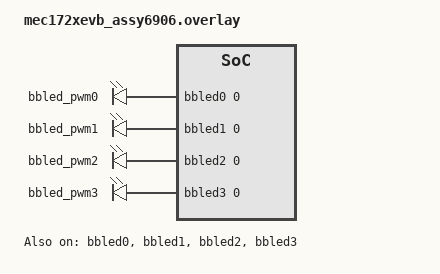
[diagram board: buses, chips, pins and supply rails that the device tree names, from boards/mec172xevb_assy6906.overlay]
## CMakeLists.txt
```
# SPDX-License-Identifier: Apache-2.0

cmake_minimum_required(VERSION 3.20.0)

find_package(Zephyr REQUIRED HINTS $ENV{ZEPHYR_BASE})
project(led_pwm)

FILE(GLOB app_sources src/*.c)
target_sources(app PRIVATE ${app_sources})
```

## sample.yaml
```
sample:
  description: Demonstration of the PWM LED driver
  name: PWM LED sample
tests:
  sample.drivers.led.led_pwm:
    filter: dt_compat_enabled("pwm-leds")
    tags: LED
    depends_on: pwm
    platform_exclude: reel_board
    timeout: 20
    harness: console
    harness_config:
      type: multi_line
      ordered: true
      regex:
        - "Testing LED \\d+"
        - "Turned on"
        - "Turned off"
        - "Increasing brightness gradually"
        - "Blinking on: 0.1 sec, off: 0.1 sec"
        - "(Blinking on: 1 sec, off: 1 sec|Cycle period not supported)"
        - "Turned off, loop end"
```

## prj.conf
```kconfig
CONFIG_LOG=y

CONFIG_PWM=y

CONFIG_LED=y

CONFIG_LOG_MODE_IMMEDIATE=y
```

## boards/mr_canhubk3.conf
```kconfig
# Copyright 2023 NXP
# SPDX-License-Identifier: Apache-2.0

# Due to gpio-leds and pwm-leds are the same RGB LEDs so should not be used
# at the same time, need to disable this config when using pwm-leds.
CONFIG_LED_GPIO=n
```

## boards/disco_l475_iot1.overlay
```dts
/*
 * Copyright (c) 2023 STMicroelectronics
 *
 * SPDX-License-Identifier: Apache-2.0
 */

/ {
	/* do not define the leds on the pa5 and pb14 but pwmleds */
	leds {
		status = "disabled";
	};
};

&pwmleds {
	/* NOTE: enable here because it is disabled by default */
	status = "okay";
};

&timers2 {
	pwm2: pwm {
		/* Change the pin used for PWM2 channel 1 */
		/delete-property/ pinctrl-0;
		pinctrl-0 = <&tim2_ch1_pa5>;
	};
};
```

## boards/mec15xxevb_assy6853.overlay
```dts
/*
 * Copyright (c) 2023 Microchip Technology Inc.
 *
 * SPDX-License-Identifier: Apache-2.0
 */

#include <zephyr/dt-bindings/pwm/pwm.h>

/* MEC152x EVB
 * BBLED controller 0 uses GPIO156/LED0 connected to JP31-13
 * BBLED controller 1 uses GPIO157/LED1 connected to JP31-15
 * BBLED controller 2 uses GPIO153/LED2 connected to JP31-17
 *
 * BBLED hardware divides input clock (32KHz or 48MHz) by (256 * (prescalar+1)
 * and implements duty cycle for blink mode as an 8-bit value where 0 is off and
 * 255 full on. BBLED PWM is 8-bit.
 * BBLED-PWM driver get cycles API reports 32KHz/256 or 48M/256.
 * Due to all the above we use 50 ms for DT PWM period.
 */

/* PWM_SEC(1) PWM_USEC(7812) */
/ {
	pwmleds {
		compatible = "pwm-leds";
		/* struct pwm_dt_spec: phandle channel period(ns) flags */
		bbled_pwm0: bbled_pwm0 {
			pwms = <&bbled0 0 PWM_MSEC(50) PWM_POLARITY_NORMAL>;
		};
		bbled_pwm1: bbled_pwm1 {
			pwms = <&bbled1 0 PWM_MSEC(50) PWM_POLARITY_NORMAL>;
		};
		bbled_pwm2: bbled_pwm2 {
			pwms = <&bbled2 0 PWM_MSEC(50) PWM_POLARITY_NORMAL>;
		};
	};
};

&pinctrl {
	led0_gpio156_invert: led0_gpio156_invert {
		pinmux = <MCHP_XEC_PINMUX(0156, MCHP_AF1)>;
		microchip,output-func-invert;
	};
	led1_gpio157_invert: led1_gpio157_invert {
		pinmux = <MCHP_XEC_PINMUX(0157, MCHP_AF1)>;
		microchip,output-func-invert;
	};
	led2_gpio153_invert: led2_gpio153_invert {
		pinmux = <MCHP_XEC_PINMUX(0153, MCHP_AF1)>;
		microchip,output-func-invert;
	};
};

&bbled0 {
	compatible = "microchip,xec-pwmbbled";
	clock-select = "PWM_BBLED_CLK_32K";
	pinctrl-0 = <&led0_gpio156>;
	pinctrl-1 = <&led0_gpio156_sleep>;
	pinctrl-names = "default", "sleep";
	status = "okay";
	#pwm-cells = <3>;
};

&bbled1 {
	compatible = "microchip,xec-pwmbbled";
	clock-select = "PWM_BBLED_CLK_32K";
	pinctrl-0 = <&led1_gpio157>;
	pinctrl-1 = <&led1_gpio157_sleep>;
	pinctrl-names = "default", "sleep";
	status = "okay";
	#pwm-cells = <3>;
};

&bbled2 {
	compatible = "microchip,xec-pwmbbled";
	clock-select = "PWM_BBLED_CLK_32K";
	pinctrl-0 = <&led2_gpio153>;
	pinctrl-1 = <&led2_gpio153_sleep>;
	pinctrl-names = "default", "sleep";
	status = "okay";
	#pwm-cells = <3>;
};
```

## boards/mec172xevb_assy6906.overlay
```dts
/*
 * Copyright (c) 2023 Microchip Technology Inc.
 *
 * SPDX-License-Identifier: Apache-2.0
 */

#include <zephyr/dt-bindings/pwm/pwm.h>

/* MEC172x EVB
 * BBLED controller 0 uses GPIO156/LED1 connected to JP71-11
 * BBLED controller 1 uses GPIO157/LED2 connected to JP71-13
 * BBLED controller 2 uses GPIO153/LED3 connected to JP71-5
 * BBLED controller 3 uses GPIO035/PWM8 connected to JP67-19
 * NOTE: Data sheet indicates BBLED3 uses GPIO035.
 * Schematic Rev A1p0 shows LED3 on GPIO226 (incorrect).
 * BBLED hardware divides input clock (32KHz or 48MHz) by (256 * (prescalar+1)
 * and implements duty cycle for blink mode as an 8-bit value where 0 is off and
 * 255 full on. BBLED PWM is 8-bit.
 * BBLED-PWM driver get cycles API reports 32KHz/256 or 48M/256.
 * Due to all the above we use 50 ms for DT PWM period.
 */

/* PWM_SEC(1) PWM_USEC(7812) */
/ {
	pwmleds {
		compatible = "pwm-leds";
		/* struct pwm_dt_spec: phandle channel period(ns) flags */
		bbled_pwm0: bbled_pwm0 {
			pwms = <&bbled0 0 PWM_MSEC(50) PWM_POLARITY_NORMAL>;
		};
		bbled_pwm1: bbled_pwm1 {
			pwms = <&bbled1 0 PWM_MSEC(50) PWM_POLARITY_NORMAL>;
		};
		bbled_pwm2: bbled_pwm2 {
			pwms = <&bbled2 0 PWM_MSEC(50) PWM_POLARITY_NORMAL>;
		};
		bbled_pwm3: bbled_pwm3 {
			pwms = <&bbled3 0 PWM_MSEC(50) PWM_POLARITY_NORMAL>;
		};
	};
};

&pinctrl {
	led0_gpio156_invert: led0_gpio156_invert {
		pinmux = <MCHP_XEC_PINMUX(0156, MCHP_AF1)>;
		microchip,output-func-invert;
	};
	led1_gpio157_invert: led1_gpio157_invert {
		pinmux = <MCHP_XEC_PINMUX(0157, MCHP_AF1)>;
		microchip,output-func-invert;
	};
	led2_gpio153_invert: led2_gpio153_invert {
		pinmux = <MCHP_XEC_PINMUX(0153, MCHP_AF1)>;
		microchip,output-func-invert;
	};
	led3_gpio035_invert: led3_gpio035_invert {
		pinmux = <MCHP_XEC_PINMUX(035, MCHP_AF4)>;
		microchip,output-func-invert;
	};
};

&bbled0 {
	compatible = "microchip,xec-pwmbbled";
	clock-select = "PWM_BBLED_CLK_32K";
	pinctrl-0 = <&led0_gpio156>;
	pinctrl-1 = <&led0_gpio156_sleep>;
	pinctrl-names = "default", "sleep";
	status = "okay";
	#pwm-cells = <3>;
};

&bbled1 {
	compatible = "microchip,xec-pwmbbled";
	clock-select = "PWM_BBLED_CLK_32K";
	pinctrl-0 = <&led1_gpio157>;
	pinctrl-1 = <&led1_gpio157_sleep>;
	pinctrl-names = "default", "sleep";
	status = "okay";
	#pwm-cells = <3>;
};

&bbled2 {
	compatible = "microchip,xec-pwmbbled";
	clock-select = "PWM_BBLED_CLK_32K";
	pinctrl-0 = <&led2_gpio153>;
	pinctrl-1 = <&led2_gpio153_sleep>;
	pinctrl-names = "default", "sleep";
	status = "okay";
	#pwm-cells = <3>;
};

&bbled3 {
	compatible = "microchip,xec-pwmbbled";
	clock-select = "PWM_BBLED_CLK_32K";
	pinctrl-0 = <&led3_gpio035>;
	pinctrl-1 = <&led3_gpio035_sleep>;
	pinctrl-names = "default", "sleep";
	status = "okay";
	#pwm-cells = <3>;
};
```

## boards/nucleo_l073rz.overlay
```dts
/*
 * SPDX-License-Identifier: Apache-2.0
 *
 * Copyright (c) 2022 STMicroelectronics
 */

/ {
	/* do not define the led on the pa5 but a pwmleds */
	leds {
		status = "disabled";
	};
};

&pwmleds {
	/* NOTE: enable here because it is disabled by default */
	status = "okay";
};

&pwm2 {
	status = "okay";
};
```

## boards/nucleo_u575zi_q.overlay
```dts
/*
 * Copyright (c) 2023 STMicroelectronics
 *
 * SPDX-License-Identifier: Apache-2.0
 */

/ {
	/* do not define the leds on the pc7 and pb7 but pwmleds */
	leds {
		status = "disabled";
	};
};

&pwmleds {
	/* NOTE: enable here because it is disabled by default */
	status = "okay";
};
```

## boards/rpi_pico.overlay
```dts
/ {
	leds {
		status = "disabled";
	};

	pwm_leds {
		status = "okay";
	};
};

&pwm {
	status = "okay";
	divider-frac-4 = <15>;
	divider-int-4 = <255>;
};
```

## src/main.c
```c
/*
 * Copyright (c) 2020 Seagate Technology LLC
 *
 * SPDX-License-Identifier: Apache-2.0
 */

#include <zephyr/device.h>
#include <zephyr/devicetree.h>
#include <errno.h>
#include <zephyr/drivers/led.h>
#include <zephyr/sys/util.h>
#include <zephyr/kernel.h>

#include <zephyr/logging/log.h>
LOG_MODULE_REGISTER(main, CONFIG_LOG_DEFAULT_LEVEL);

#define LED_PWM_NODE_ID	 DT_COMPAT_GET_ANY_STATUS_OKAY(pwm_leds)

const char *led_label[] = {
	DT_FOREACH_CHILD_SEP_VARGS(LED_PWM_NODE_ID, DT_PROP_OR, (,), label, NULL)
};

const int num_leds = ARRAY_SIZE(led_label);

#define MAX_BRIGHTNESS	100

#define FADE_DELAY_MS	10
#define FADE_DELAY	K_MSEC(FADE_DELAY_MS)

/**
 * @brief Run tests on a single LED using the LED API syscalls.
 *
 * @param led_pwm LED PWM device.
 * @param led Number of the LED to test.
 */
static void run_led_test(const struct device *led_pwm, uint8_t led)
{
	int err;
	uint16_t level;

	LOG_INF("Testing LED %d - %s", led, led_label[led] ? : "no label");

	/* Turn LED on. */
	err = led_on(led_pwm, led);
	if (err < 0) {
		LOG_ERR("err=%d", err);
		return;
	}
	LOG_INF("  Turned on");
	k_sleep(K_MSEC(1000));

	/* Turn LED off. */
	err = led_off(led_pwm, led);
	if (err < 0) {
		LOG_ERR("err=%d", err);
		return;
	}
	LOG_INF("  Turned off");
	k_sleep(K_MSEC(1000));

	/* Increase LED brightness gradually up to the maximum level. */
	LOG_INF("  Increasing brightness gradually");
	for (level = 0; level <= MAX_BRIGHTNESS; level++) {
		err = led_set_brightness(led_pwm, led, level);
		if (err < 0) {
			LOG_ERR("err=%d brightness=%d\n", err, level);
			return;
		}
		k_sleep(FADE_DELAY);
	}
	k_sleep(K_MSEC(1000));

	/* Set LED blinking (on: 0.1 sec, off: 0.1 sec) */
	err = led_blink(led_pwm, led, 100, 100);
	if (err < 0) {
		LOG_ERR("err=%d", err);
		return;
	}
	LOG_INF("  Blinking on: 0.1 sec, off: 0.1 sec");
	k_sleep(K_MSEC(5000));

	/* Enable LED blinking (on: 1 sec, off: 1 sec) */
	err = led_blink(led_pwm, led, 1000, 1000);
	if (err < 0) {
		LOG_ERR("err=%d", err);
		LOG_INF("  Cycle period not supported - on: 1 sec, off: 1 sec");
	} else {
		LOG_INF("  Blinking on: 1 sec, off: 1 sec");
	}
	k_sleep(K_MSEC(5000));

	/* Turn LED off. */
	err = led_off(led_pwm, led);
	if (err < 0) {
		LOG_ERR("err=%d", err);
		return;
	}
	LOG_INF("  Turned off, loop end");
}

int main(void)
{
	const struct device *led_pwm;
	uint8_t led;

	led_pwm = DEVICE_DT_GET(LED_PWM_NODE_ID);
	if (!device_is_ready(led_pwm)) {
		LOG_ERR("Device %s is not ready", led_pwm->name);
		return 0;
	}

	if (!num_leds) {
		LOG_ERR("No LEDs found for %s", led_pwm->name);
		return 0;
	}

	do {
		for (led = 0; led < num_leds; led++) {
			run_led_test(led_pwm, led);
		}
	} while (true);
	return 0;
}
```
